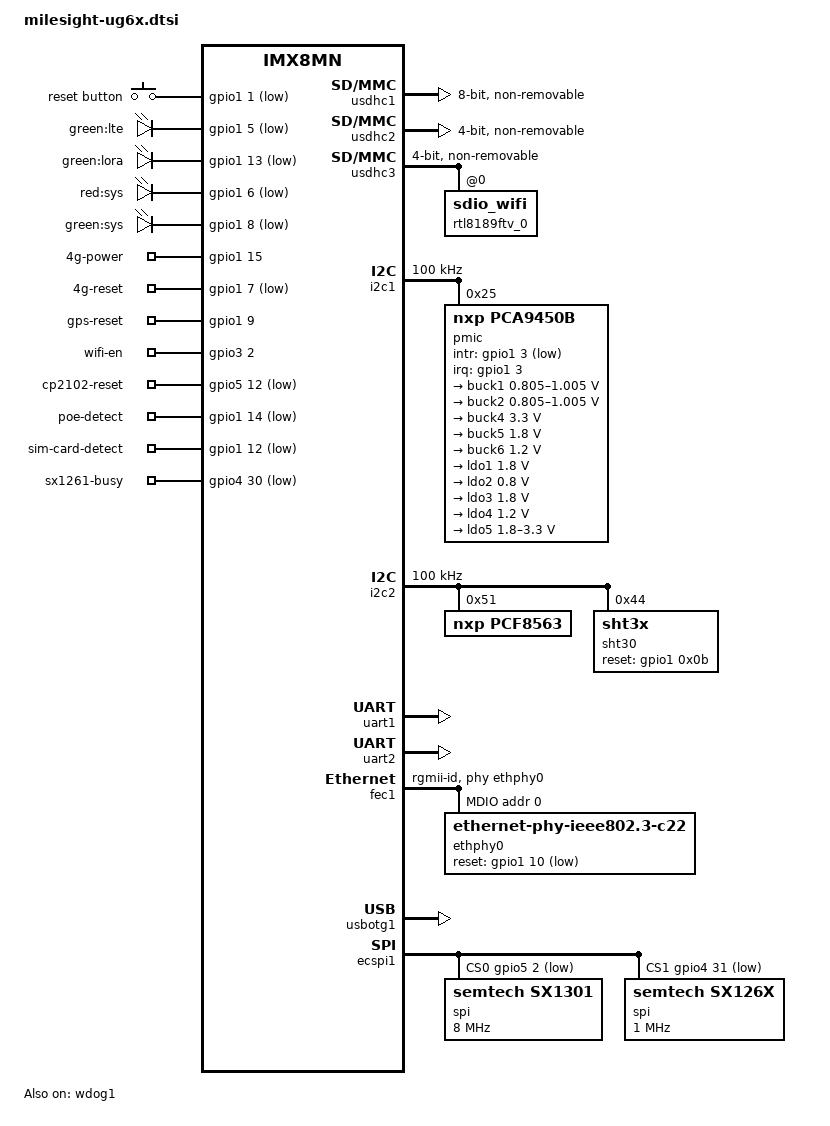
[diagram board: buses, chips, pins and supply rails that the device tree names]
/dts-v1/;

#include "imx8mn.dtsi"

#include <dt-bindings/gpio/gpio.h>
#include <dt-bindings/input/input.h>
#include <dt-bindings/power/imx8mn-power.h>

/ {
	aliases {
		rtc0 = &pcf8563;
		rtc1 = &snvs_rtc;
                led-boot = &led_sys_green;
                led-failsafe = &led_sys_red;
                led-running = &led_sys_green;
                led-upgrade = &led_sys_green;
	};

        gpio-keys {
                compatible = "gpio-keys-polled";
		poll-interval = <200>;
                pinctrl-0 = <&pinctrl_gpio_keys>;
                pinctrl-names = "default";

                reset-button {
                        label = "reset button";
                        gpios = <&gpio1 1 GPIO_ACTIVE_LOW>;
                        linux,code = <KEY_RESTART>;
                        debounce-interval = <50>;
                };
        };

        gpio-leds {
                compatible = "gpio-leds";
                pinctrl-0 = <&pinctrl_gpio_leds>;
                pinctrl-names = "default";

                led0 {
                        label = "green:lte";
                        gpios = <&gpio1 5 GPIO_ACTIVE_LOW>;
			default-state = "off";
                };

                led2 {
                        label = "green:lora";
                        gpios = <&gpio1 13 GPIO_ACTIVE_LOW>;
			default-state = "off";
                };

                led_sys_red: sys-red {
                        label = "red:sys";
                        gpios = <&gpio1 6 GPIO_ACTIVE_LOW>;
			default-state = "off";
                };

                led_sys_green: sys-green {
                        label = "green:sys";
                        gpios = <&gpio1 8 GPIO_ACTIVE_LOW>;
			default-state = "off";
                };
	};

        gpio-export {
                compatible = "gpio-export";
                pinctrl-0 = <&pinctrl_gpio_exports>;
                pinctrl-names = "default";

                4g-power {
                        gpios = <&gpio1 15 (GPIO_ACTIVE_HIGH | GPIO_OPEN_DRAIN)>;
			gpio-export,name = "4g-power";
			gpio-export,output = <0>;
                };

		4g-reset {
			gpios = <&gpio1 7 (GPIO_ACTIVE_LOW | GPIO_OPEN_DRAIN)>;
			gpio-export,name = "4g-reset";
			gpio-export,output = <0>;
		};

		gps-reset {
			gpios = <&gpio1 9 (GPIO_ACTIVE_HIGH | GPIO_OPEN_DRAIN)>;
			gpio-export,name = "gps-reset";
			gpio-export,output = <1>;
		};

		wifi-en {
			gpios = <&gpio3 2 GPIO_ACTIVE_HIGH>;
			gpio-export,name = "wifi-en";
			gpio-export,output = <1>;
		};

		cp2102-reset {
			gpios = <&gpio5 12 GPIO_ACTIVE_LOW>;
			gpio-export,name = "cp2102-reset";
			gpio-export,output = <1>;
		};

		poe-detect {
			gpios = <&gpio1 14 GPIO_ACTIVE_LOW>;
			gpio-export,name = "poe-detect";
			gpio-export,input = <0>;
		};

		sim-card-detect {
			gpios = <&gpio1 12 GPIO_ACTIVE_LOW>;
			gpio-export,name = "sim-card-detect";
			gpio-export,input = <0>;
		};

		sx1261-busy {
			gpios = <&gpio4 30 GPIO_ACTIVE_LOW>;
			gpio-export,name = "sx1261-busy";
			gpio-export,input = <0>;
		};
	};
};

&sdma1 {
	status = "okay";
};

&sdma2 {
	status = "okay";
};

&sdma3 {
	status = "okay";
};

&usdhc1 {
        assigned-clocks = <&clk IMX8MN_CLK_USDHC1>;
	assigned-clock-rates = <400000000>;
	pinctrl-names = "default", "state_100mhz", "state_200mhz";
	pinctrl-0 = <&pinctrl_usdhc1>;
	pinctrl-1 = <&pinctrl_usdhc1_100mhz>;
	pinctrl-2 = <&pinctrl_usdhc1_200mhz>;
	bus-width = <8>;
	non-removable;
	status = "okay";
};

&usdhc2 {
        assigned-clocks = <&clk IMX8MN_CLK_USDHC2>;
        pinctrl-names = "default", "state_100mhz", "state_200mhz";
        pinctrl-0 = <&pinctrl_usdhc2>, <&pinctrl_usdhc2_gpio>;
        pinctrl-1 = <&pinctrl_usdhc2_100mhz>, <&pinctrl_usdhc2_gpio>;
        pinctrl-2 = <&pinctrl_usdhc2_200mhz>, <&pinctrl_usdhc2_gpio>;
	power-gpios = <&gpio2 19 0x00>;
        bus-width = <4>;
	non-removable;
        status = "okay";
};

/* SDIO WIFI */
&usdhc3 {
        assigned-clocks = <&clk IMX8MN_CLK_USDHC3_ROOT>;
        assigned-clock-rates = <400000000>;
        pinctrl-names = "default", "state_100mhz", "state_200mhz";
        pinctrl-0 = <&pinctrl_usdhc3>;
        pinctrl-1 = <&pinctrl_usdhc3_100mhz>;
        pinctrl-2 = <&pinctrl_usdhc3_200mhz>;
        bus-width = <4>;
        non-removable;
        status = "okay";
	#address-cells = <1>;
	#size-cells = <0>;

        rtl8189ftv_0: sdio_wifi@0 {
                reg = <0>;
        };
};

&flexspi {
        pinctrl-names = "default";
        pinctrl-0 = <&pinctrl_flexspi>;
	// SPI 2MB Flash
	// Disabled to prevent accidental changes to U-Boot
        status = "disabled";
        flash@0 {
                reg = <0>;
                #address-cells = <1>;
                #size-cells = <1>;
                compatible = "jedec,spi-nor";
                spi-max-frequency = <80000000>;
                spi-tx-bus-width = <1>;
                spi-rx-bus-width = <4>;
        };
};

&iomuxc {
        pinctrl_uart1: uart1grp {
                fsl,pins = <
                        MX8MN_IOMUXC_UART1_RXD_UART1_DCE_RX     0x140
                        MX8MN_IOMUXC_UART1_TXD_UART1_DCE_TX     0x140
                >;
        };

        pinctrl_uart2: uart2grp {
                fsl,pins = <
                        MX8MN_IOMUXC_UART2_RXD_UART2_DCE_RX     0x140
                        MX8MN_IOMUXC_UART2_TXD_UART2_DCE_TX     0x140
                >;
        };

	pinctrl_gpio_keys: gpiokeysgrp {
                fsl,pins = <
			MX8MN_IOMUXC_GPIO1_IO01_GPIO1_IO1	0x19 /* reset button */
                >;
        };

	pinctrl_gpio_leds: ledsgrp {
                fsl,pins = <
			MX8MN_IOMUXC_GPIO1_IO05_GPIO1_IO5       0x19 /* led0 */
			MX8MN_IOMUXC_GPIO1_IO13_GPIO1_IO13	0x19 /* led2 */
			MX8MN_IOMUXC_GPIO1_IO08_GPIO1_IO8	0x19 /* sys-green */
			MX8MN_IOMUXC_GPIO1_IO06_GPIO1_IO6	0x19 /* sys-red */
                >;
        };

	pinctrl_gpio_exports: exportsgrp {
                fsl,pins = <
			MX8MN_IOMUXC_ECSPI2_SS0_GPIO5_IO13      0x19 /* WIFI_RESET_PIN */
			MX8MN_IOMUXC_GPIO1_IO07_GPIO1_IO7       0x19 /* 4g-reset */
			MX8MN_IOMUXC_GPIO1_IO09_GPIO1_IO9       0x19 /* GPS_RESET_PIN */
			MX8MN_IOMUXC_GPIO1_IO15_GPIO1_IO15      0x19 /* 4g-power */
			MX8MN_IOMUXC_NAND_CE1_B_GPIO3_IO2	0x19 /* wifi-en */ /* not in OEM device tree */
			MX8MN_IOMUXC_ECSPI2_MISO_GPIO5_IO12     0x19 /* CP2102-RST */
			MX8MN_IOMUXC_GPIO1_IO12_GPIO1_IO12      0x19 /* SIM card detect */
			MX8MN_IOMUXC_SAI3_RXD_GPIO4_IO30        0x19 /* SX1261 BUSY */
			MX8MN_IOMUXC_GPIO1_IO14_GPIO1_IO14      0x19 /* POE detect */
			MX8MN_IOMUXC_SAI3_TXC_GPIO5_IO0		0x19 /* SX1301_RESET_PIN */
			MX8MN_IOMUXC_SAI3_TXD_GPIO5_IO1		0x19 /* SX126X_RESET_PIN */
                >;
        };

        pinctrl_i2c1: i2c1grp {
                fsl,pins = <
                        MX8MN_IOMUXC_I2C1_SCL_I2C1_SCL          0x400001c3
                        MX8MN_IOMUXC_I2C1_SDA_I2C1_SDA          0x400001c3
                >;
        };

        pinctrl_i2c2: i2c2grp {
                fsl,pins = <
                        MX8MN_IOMUXC_I2C2_SCL_I2C2_SCL          0x400001c3
                        MX8MN_IOMUXC_I2C2_SDA_I2C2_SDA          0x400001c3
			MX8MN_IOMUXC_GPIO1_IO11_GPIO1_IO11      0x19  /* reset_pio */
                >;
        };

	pinctrl_pmic: pmicirqgrp {
		fsl,pins = <
			MX8MN_IOMUXC_GPIO1_IO03_GPIO1_IO3	0x41
		>;
	};

	pinctrl_usdhc1: usdhc1grp {
		fsl,pins = <
			MX8MN_IOMUXC_SD1_CLK_USDHC1_CLK 0x190
			MX8MN_IOMUXC_SD1_CMD_USDHC1_CMD 0x1d0
			MX8MN_IOMUXC_SD1_DATA0_USDHC1_DATA0     0x1d0
			MX8MN_IOMUXC_SD1_DATA1_USDHC1_DATA1     0x1d0
			MX8MN_IOMUXC_SD1_DATA2_USDHC1_DATA2     0x1d0
			MX8MN_IOMUXC_SD1_DATA3_USDHC1_DATA3     0x1d0
			MX8MN_IOMUXC_SD1_DATA4_USDHC1_DATA4     0x1d0
			MX8MN_IOMUXC_SD1_DATA5_USDHC1_DATA5     0x1d0
			MX8MN_IOMUXC_SD1_DATA6_USDHC1_DATA6     0x1d0
			MX8MN_IOMUXC_SD1_DATA7_USDHC1_DATA7     0x1d0
			MX8MN_IOMUXC_SD1_RESET_B_USDHC1_RESET_B 0x1d0
			MX8MN_IOMUXC_SD1_STROBE_USDHC1_STROBE   0x1d0
		>;
	};

	pinctrl_usdhc1_100mhz: usdhc1-100mhzgrp {
		fsl,pins = <
			MX8MN_IOMUXC_SD1_CLK_USDHC1_CLK 0x194
			MX8MN_IOMUXC_SD1_CMD_USDHC1_CMD 0x1d4
			MX8MN_IOMUXC_SD1_DATA0_USDHC1_DATA0     0x1d4
			MX8MN_IOMUXC_SD1_DATA1_USDHC1_DATA1     0x1d4
			MX8MN_IOMUXC_SD1_DATA2_USDHC1_DATA2     0x1d4
			MX8MN_IOMUXC_SD1_DATA3_USDHC1_DATA3     0x1d4
			MX8MN_IOMUXC_SD1_DATA4_USDHC1_DATA4     0x1d4
			MX8MN_IOMUXC_SD1_DATA5_USDHC1_DATA5     0x1d4
			MX8MN_IOMUXC_SD1_DATA6_USDHC1_DATA6     0x1d4
			MX8MN_IOMUXC_SD1_DATA7_USDHC1_DATA7     0x1d4
			MX8MN_IOMUXC_SD1_RESET_B_USDHC1_RESET_B 0x1d4
			MX8MN_IOMUXC_SD1_STROBE_USDHC1_STROBE   0x1d4
		>;
	};

	pinctrl_usdhc1_200mhz: usdhc1-200mhzgrp {
		fsl,pins = <
			MX8MN_IOMUXC_SD1_CLK_USDHC1_CLK 0x196
			MX8MN_IOMUXC_SD1_CMD_USDHC1_CMD 0x1d6
			MX8MN_IOMUXC_SD1_DATA0_USDHC1_DATA0     0x1d6
			MX8MN_IOMUXC_SD1_DATA1_USDHC1_DATA1     0x1d6
			MX8MN_IOMUXC_SD1_DATA2_USDHC1_DATA2     0x1d6
			MX8MN_IOMUXC_SD1_DATA3_USDHC1_DATA3     0x1d6
			MX8MN_IOMUXC_SD1_DATA4_USDHC1_DATA4     0x1d6
			MX8MN_IOMUXC_SD1_DATA5_USDHC1_DATA5     0x1d6
			MX8MN_IOMUXC_SD1_DATA6_USDHC1_DATA6     0x1d6
			MX8MN_IOMUXC_SD1_DATA7_USDHC1_DATA7     0x1d6
			MX8MN_IOMUXC_SD1_RESET_B_USDHC1_RESET_B 0x1d6
			MX8MN_IOMUXC_SD1_STROBE_USDHC1_STROBE   0x1d6
		>;
	};
        pinctrl_flexspi: flexspigrp {
                fsl,pins = <
                        MX8MN_IOMUXC_NAND_ALE_QSPI_A_SCLK               0x1c2
                        MX8MN_IOMUXC_NAND_CE0_B_QSPI_A_SS0_B            0x82
                        MX8MN_IOMUXC_NAND_DATA00_QSPI_A_DATA0           0x82
                        MX8MN_IOMUXC_NAND_DATA01_QSPI_A_DATA1           0x82
                        MX8MN_IOMUXC_NAND_DATA02_QSPI_A_DATA2           0x82
                        MX8MN_IOMUXC_NAND_DATA03_QSPI_A_DATA3           0x82
                >;
        };

        pinctrl_usdhc2: usdhc2grp {
                fsl,pins = <
                        MX8MN_IOMUXC_SD2_CLK_USDHC2_CLK         0x190
                        MX8MN_IOMUXC_SD2_CMD_USDHC2_CMD         0x1d0
                        MX8MN_IOMUXC_SD2_DATA0_USDHC2_DATA0     0x1d0
                        MX8MN_IOMUXC_SD2_DATA1_USDHC2_DATA1     0x1d0
                        MX8MN_IOMUXC_SD2_DATA2_USDHC2_DATA2     0x1d0
                        MX8MN_IOMUXC_SD2_DATA3_USDHC2_DATA3     0x1d0
                        MX8MN_IOMUXC_GPIO1_IO04_USDHC2_VSELECT  0x1d0
                >;
        };

        pinctrl_usdhc2_100mhz: usdhc2-100mhzgrp {
                fsl,pins = <
                        MX8MN_IOMUXC_SD2_CLK_USDHC2_CLK         0x194
                        MX8MN_IOMUXC_SD2_CMD_USDHC2_CMD         0x1d4
                        MX8MN_IOMUXC_SD2_DATA0_USDHC2_DATA0     0x1d4
                        MX8MN_IOMUXC_SD2_DATA1_USDHC2_DATA1     0x1d4
                        MX8MN_IOMUXC_SD2_DATA2_USDHC2_DATA2     0x1d4
                        MX8MN_IOMUXC_SD2_DATA3_USDHC2_DATA3     0x1d4
                        MX8MN_IOMUXC_GPIO1_IO04_USDHC2_VSELECT  0x1d0
                >;
        };
        pinctrl_usdhc2_200mhz: usdhc2-200mhzgrp {
                fsl,pins = <
                        MX8MN_IOMUXC_SD2_CLK_USDHC2_CLK         0x196
                        MX8MN_IOMUXC_SD2_CMD_USDHC2_CMD         0x1d6
                        MX8MN_IOMUXC_SD2_DATA0_USDHC2_DATA0     0x1d6
                        MX8MN_IOMUXC_SD2_DATA1_USDHC2_DATA1     0x1d6
                        MX8MN_IOMUXC_SD2_DATA2_USDHC2_DATA2     0x1d6
                        MX8MN_IOMUXC_SD2_DATA3_USDHC2_DATA3     0x1d6
                        MX8MN_IOMUXC_GPIO1_IO04_USDHC2_VSELECT  0x1d0
                >;
        };

        pinctrl_usdhc3: usdhc3grp {
                fsl,pins = <
                        MX8MN_IOMUXC_NAND_WE_B_USDHC3_CLK               0x190
                        MX8MN_IOMUXC_NAND_WP_B_USDHC3_CMD               0x1d0
                        MX8MN_IOMUXC_NAND_DATA04_USDHC3_DATA0           0x1d0
                        MX8MN_IOMUXC_NAND_DATA05_USDHC3_DATA1           0x1d0
                        MX8MN_IOMUXC_NAND_DATA06_USDHC3_DATA2           0x1d0
                        MX8MN_IOMUXC_NAND_DATA07_USDHC3_DATA3           0x1d0
                >;
        };
        pinctrl_usdhc3_100mhz: usdhc3-100mhzgrp {
                fsl,pins = <
                        MX8MN_IOMUXC_NAND_WE_B_USDHC3_CLK               0x194
                        MX8MN_IOMUXC_NAND_WP_B_USDHC3_CMD               0x1d4
                        MX8MN_IOMUXC_NAND_DATA04_USDHC3_DATA0           0x1d4
                        MX8MN_IOMUXC_NAND_DATA05_USDHC3_DATA1           0x1d4
                        MX8MN_IOMUXC_NAND_DATA06_USDHC3_DATA2           0x1d4
                        MX8MN_IOMUXC_NAND_DATA07_USDHC3_DATA3           0x1d4
                >;
        };

        pinctrl_usdhc3_200mhz: usdhc3-200mhzgrp {
                fsl,pins = <
                        MX8MN_IOMUXC_NAND_WE_B_USDHC3_CLK               0x196
                        MX8MN_IOMUXC_NAND_WP_B_USDHC3_CMD               0x1d6
                        MX8MN_IOMUXC_NAND_DATA04_USDHC3_DATA0           0x1d6
                        MX8MN_IOMUXC_NAND_DATA05_USDHC3_DATA1           0x1d6
                        MX8MN_IOMUXC_NAND_DATA06_USDHC3_DATA2           0x1d6
                        MX8MN_IOMUXC_NAND_DATA07_USDHC3_DATA3           0x1d6
                >;
        };

        pinctrl_wdog: wdoggrp {
                fsl,pins = <
                        MX8MN_IOMUXC_GPIO1_IO02_WDOG1_WDOG_B            0xc6
                >;
        };

        pinctrl_fec1grp: fec1grp {
                fsl,pins = <
			MX8MN_IOMUXC_ENET_MDC_ENET1_MDC         0x03
			MX8MN_IOMUXC_ENET_MDIO_ENET1_MDIO       0x03
			MX8MN_IOMUXC_ENET_TD3_ENET1_RGMII_TD3   0x1f
			MX8MN_IOMUXC_ENET_TD2_ENET1_RGMII_TD2   0x1f
			MX8MN_IOMUXC_ENET_TD1_ENET1_RGMII_TD1   0x1f
			MX8MN_IOMUXC_ENET_TD0_ENET1_RGMII_TD0   0x1f
			MX8MN_IOMUXC_ENET_RD3_ENET1_RGMII_RD3   0x91
			MX8MN_IOMUXC_ENET_RD2_ENET1_RGMII_RD2   0x91
			MX8MN_IOMUXC_ENET_RD1_ENET1_RGMII_RD1   0x91
			MX8MN_IOMUXC_ENET_RD0_ENET1_RGMII_RD0   0x91
			MX8MN_IOMUXC_ENET_TXC_ENET1_RGMII_TXC   0x1f
			MX8MN_IOMUXC_ENET_RXC_ENET1_RGMII_RXC   0x91
			MX8MN_IOMUXC_ENET_RX_CTL_ENET1_RGMII_RX_CTL     0x91
			MX8MN_IOMUXC_ENET_TX_CTL_ENET1_RGMII_TX_CTL     0x1f
			MX8MN_IOMUXC_GPIO1_IO10_GPIO1_IO10      0x19 /* switchnet-reset */
                >;
        };
			// MX8MN_IOMUXC_GPIO1_IO04_GPIO1_IO4	0x19 /* VSD_3V3 */
};

&i2c1 {
        clock-frequency = <100000>;
        status = "okay";
	pinctrl-0 = <&pinctrl_i2c1>;
	pinctrl-names = "default";

	pmic: pmic@25 {
		compatible = "nxp,pca9450b";
		reg = <0x25>;
		pinctrl-0 = <&pinctrl_pmic>;
		pinctrl-names = "default";
                gpio_intr = <&gpio1 3 GPIO_ACTIVE_LOW>;
                interrupt-parent = <&gpio1>;
                interrupts = <3 GPIO_ACTIVE_LOW>;

		regulators {
			pca9450,pmic-buck2-uses-i2c-dvs;
			pca9450,pmic-buck2-dvs-voltage = <1000000 850000>;
			buck1: BUCK1{
				regulator-name = "BUCK1";
				regulator-min-microvolt = <805000>;
				regulator-max-microvolt = <1005000>;
				regulator-boot-on;
				regulator-always-on;
				regulator-ramp-delay = <1250>;
			};

			buck2: BUCK2 {
				regulator-name = "BUCK2";
				regulator-min-microvolt = <805000>;
				regulator-max-microvolt = <1005000>;
				regulator-boot-on;
				regulator-always-on;
				regulator-ramp-delay = <1250>;
			};

			buck4: BUCK4{
				regulator-name = "BUCK4";
				regulator-min-microvolt = <3300000>;
				regulator-max-microvolt = <3300000>;
				regulator-boot-on;
				regulator-always-on;
			};

			buck5: BUCK5{
				regulator-name = "BUCK5";
				regulator-min-microvolt = <1800000>;
				regulator-max-microvolt = <1800000>;
				regulator-boot-on;
				regulator-always-on;
			};

			buck6: BUCK6 {
				regulator-name = "BUCK6";
				regulator-min-microvolt = <1200000>;
				regulator-max-microvolt = <1200000>;
				regulator-boot-on;
				regulator-always-on;
			};

			ldo1: LDO1 {
				regulator-name = "LDO1";
				regulator-min-microvolt = <1800000>;
				regulator-max-microvolt = <1800000>;
				regulator-boot-on;
				regulator-always-on;
			};

			ldo2: LDO2 {
				regulator-name = "LDO2";
				regulator-min-microvolt = <800000>;
				regulator-max-microvolt = <800000>;
				regulator-boot-on;
				regulator-always-on;
			};

			ldo3: LDO3 {
				regulator-name = "LDO3";
				regulator-min-microvolt = <1800000>;
				regulator-max-microvolt = <1800000>;
				regulator-boot-on;
				regulator-always-on;
			};

			ldo4: LDO4 {
				regulator-name = "LDO4";
				regulator-min-microvolt = <1200000>;
				regulator-max-microvolt = <1200000>;
				regulator-boot-on;
				regulator-always-on;
			};

			ldo5: LDO5 {
				regulator-name = "LDO5";
				regulator-min-microvolt = <1800000>;
				regulator-max-microvolt = <3300000>;
				regulator-boot-on;
				regulator-always-on;
			};
		};
	};
};

&i2c2 {
        clock-frequency = <100000>;
        pinctrl-names = "default";
        pinctrl-0 = <&pinctrl_i2c2>;
        status = "okay";

	pcf8563: pcf8563@51 {
		compatible = "nxp,pcf8563";
		status = "okay";
		reg = <0x51>;
		i2c = "2";
		addr = "0x51";
	};

	sht30@44 {
		compatible = "sht3x";
		reg = <0x44>;
		reset-gpios = <&gpio1 0x0b 0x00>;
		status = "okay";
	};
};

&wdog1 {
        pinctrl-names = "default";
        pinctrl-0 = <&pinctrl_wdog>;
        fsl,ext-reset-output;
        status = "okay";
};

/* ttymxc0 - connected to GPS */
&uart1 {
        pinctrl-names = "default";
        pinctrl-0 = <&pinctrl_uart1>;
        status = "okay";
};

/* ttymxc1 - console */
&uart2 {
        pinctrl-names = "default";
        pinctrl-0 = <&pinctrl_uart2>;
        status = "okay";
};

&fec1 {
	status = "okay";
        phy-mode = "rgmii-id";
        phy-handle = <&ethphy0>;

	fsl,num-tx-queues = <0x03>;
	fsl,num-rx-queues = <0x03>;
	pinctrl-names = "default";
	pinctrl-0 = <&pinctrl_fec1grp>;
	phy-mode = "rgmii-id";
	fsl,magic-packet;

        status = "okay";
        mdio {
                #address-cells = <1>;
                #size-cells = <0>;
                ethphy0: ethernet-phy@0 {
                        compatible = "ethernet-phy-ieee802.3-c22";
                        reg = <0>;
			reset-gpios = <&gpio1 10 GPIO_ACTIVE_LOW>;
                };
        };
};

&usbotg1 {
	status = "okay";
};

&A53_0 {
        cpu-supply = <&buck2>;
};

&A53_1 {
        cpu-supply = <&buck2>;
};

&A53_2 {
        cpu-supply = <&buck2>;
};

&A53_3 {
        cpu-supply = <&buck2>;
};

&ecspi1 {
	status = "okay";
	num-cs = <0x02>;
	compatible = "fsl,imx8mm-ecspi","fsl,imx51-ecspi";
	cs-gpios = <&gpio5 2 GPIO_ACTIVE_LOW>, <&gpio4 31 GPIO_ACTIVE_LOW>;
	pinctrl-0 = <&pinctrl_ecspi1>;
	pinctrl-names = "default";

	spi@0 {
		#address-cells = <0x01>;
		#size-cells = <0x01>;
		compatible = "semtech,sx1301";
		reg = <0x00>;
		spi-max-frequency = <8000000>;
	};

	spi@1 {
		#address-cells = <0x01>;
		#size-cells = <0x01>;
		compatible = "semtech,sx126x";
		reg = <0x01>;
		spi-max-frequency = <1000000>;
	};
};

&ddrc {
        operating-points-v2 = <&ddrc_opp_table>;

        ddrc_opp_table: opp-table {
                compatible = "operating-points-v2";

                opp-25M {
                        opp-hz = /bits/ 64 <25000000>;
                };

                opp-100M {
                        opp-hz = /bits/ 64 <100000000>;
                };

                opp-600M {
                        opp-hz = /bits/ 64 <600000000>;
                };
        };
};
